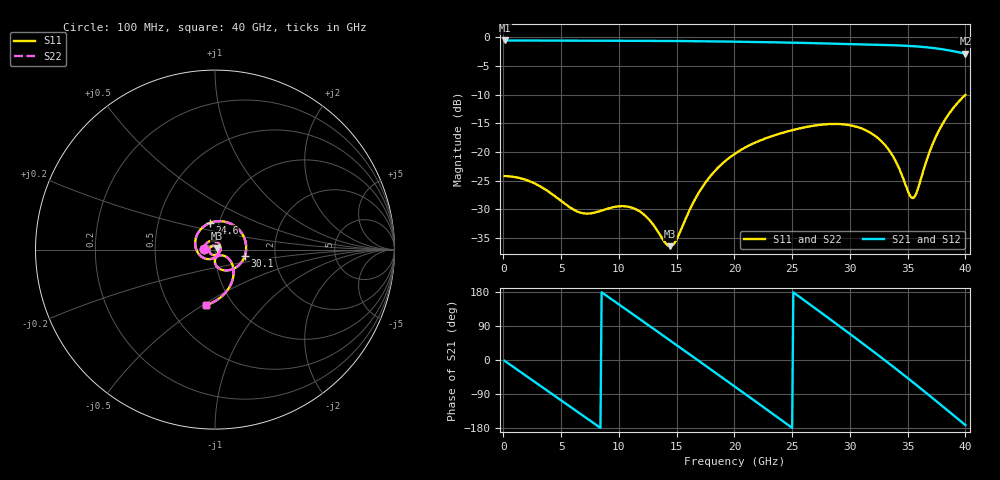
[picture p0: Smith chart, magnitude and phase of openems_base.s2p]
! C_s8_ap1000: L1→L8, antipad Ø1 on every plane
! stackup: 8-layer 1.6 mm FR-4 (generic)
! ports: 1, 2
! openEMS 0.37.0, staircase, base mesh (dfine 0.035 mm), 637065 cells
# Hz S RI R 50
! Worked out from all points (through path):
!   400 points, 100 MHz to 40 GHz, reference 50 ohm
!   highest |S21| = -0.55 dB at 100 MHz (marker M1); lowest = -2.9 dB at 40 GHz (marker M2)
!   group delay of S21, straight-line fit = 61.3 ps
!   lowest |S11| = -36.4 dB at 14.4 GHz (marker M3), VSWR 1.03, Z = 51.2 + j0.901 ohm
!   |S11| at or under -10 dB: start of sweep to end of sweep
!   |S22| runs from -36.4 to -10.0 dB; largest |S21 - S12| = 1.8e-06
!   S11 on the Smith chart (normalised r, x): 100 MHz: 0.88, +0.00; 24.6 GHz: 0.90, +0.27; 30.1 GHz: 1.40, -0.10; 40 GHz: 0.75, -0.52
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1e8  -0.0615 0.00254  0.9376 -0.035  0.9376 -0.035  -0.0615 0.00254
1.7e9  -0.044 0.0379  0.7559 -0.5549  0.7559 -0.5549  -0.044 0.0379
3.6e9  0.000357 0.0472  0.2138 -0.9116  0.2138 -0.9116  0.000357 0.0472
5.1e9  0.0271 0.0247  -0.3009 -0.8852  -0.3009 -0.8852  0.0271 0.0247
6.8e9  0.0265 -0.0124  -0.7647 -0.5352  -0.7647 -0.5352  0.0265 -0.0124
9.7e9  -0.0239 -0.0232  -0.8307 0.4217  -0.8307 0.4217  -0.0239 -0.0232
1.16e10  -0.0301 0.00793  -0.3545 0.8607  -0.3545 0.8607  -0.0301 0.00793
1.34e10  -0.00315 0.0197  0.2613 0.8921  0.2613 0.8921  -0.00315 0.0197
1.44e10  0.0122 0.0088  0.5703 0.7327  0.5703 0.7327  0.0122 0.0088
1.72e10  -0.0092 -0.0481  0.9131 -0.1363  0.9131 -0.1363  -0.0092 -0.0481
2.01e10  -0.0957 -0.0171  0.2895 -0.8683  0.2895 -0.8683  -0.0957 -0.0171
2.22e10  -0.1058 0.0675  -0.4196 -0.8059  -0.4196 -0.8059  -0.1058 0.0675
2.46e10  -0.0294 0.1481  -0.8868 -0.1502  -0.8868 -0.1502  -0.0294 0.1481
2.67e10  0.0838 0.1459  -0.7101 0.5357  -0.7101 0.5357  0.0838 0.1459
2.84e10  0.1585 0.0746  -0.2269 0.8508  -0.2269 0.8508  0.1585 0.0746
3.01e10  0.1668 -0.0332  0.3463 0.7998  0.3463 0.7998  0.1668 -0.0332
3.19e10  0.0921 -0.1112  0.779 0.3708  0.779 0.3708  0.0921 -0.1112
3.34e10  0.0178 -0.1015  0.8432 -0.1408  0.8432 -0.1408  0.0178 -0.1015
3.54e10  0.0163 -0.0361  0.4523 -0.7048  0.4523 -0.7048  0.0163 -0.0361
3.66e10  0.0691 -0.0444  0.0467 -0.8175  0.0467 -0.8175  0.0691 -0.0444
3.85e10  0.0905 -0.1887  -0.5369 -0.5538  -0.5369 -0.5538  0.0905 -0.1887
4e10  -0.0514 -0.3103  -0.7112 -0.1026  -0.7112 -0.1026  -0.0514 -0.3103
